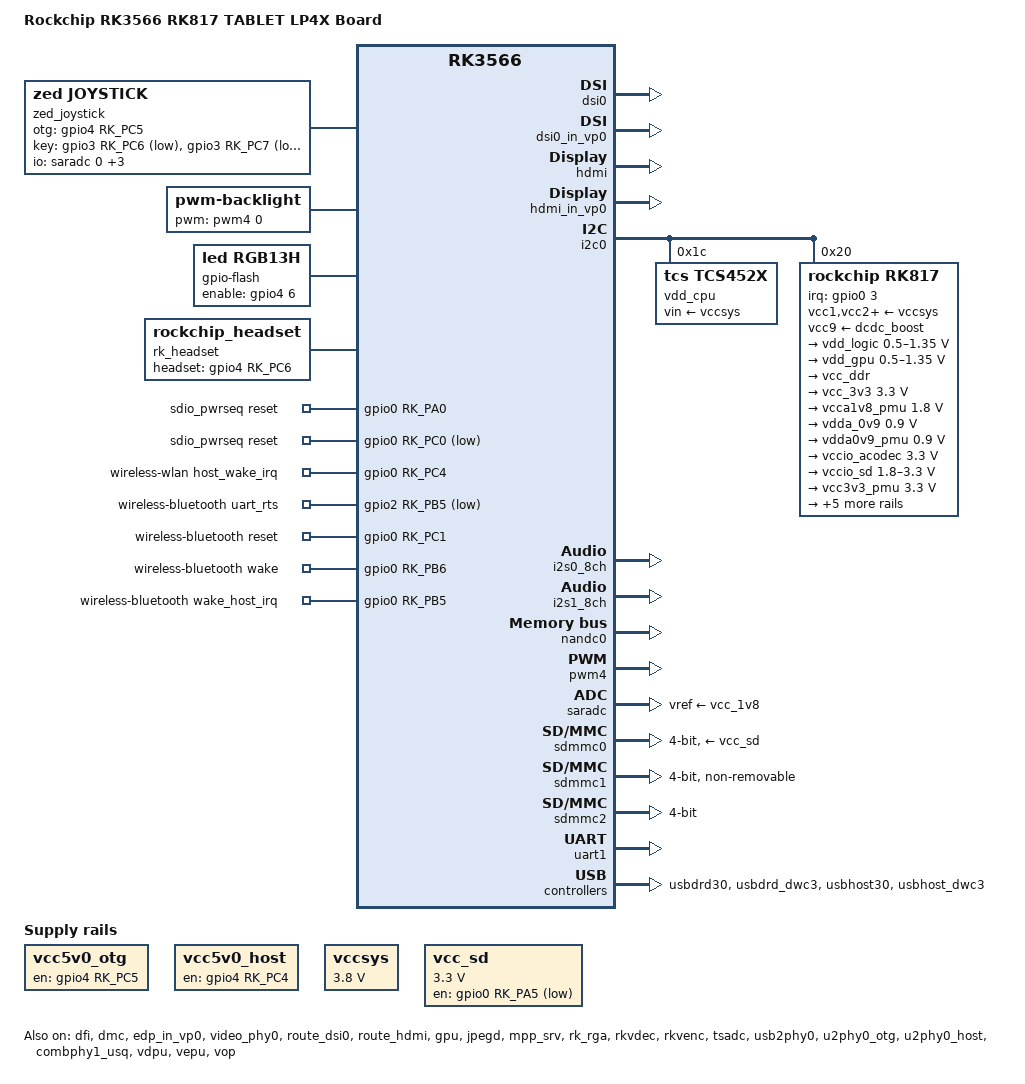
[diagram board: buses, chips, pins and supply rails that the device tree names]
// SPDX-License-Identifier: (GPL-2.0+ OR MIT)
/*
 * Copyright (c) 2020 Rockchip Electronics Co., Ltd.
 *
 */

/dts-v1/;

#include <dt-bindings/gpio/gpio.h>
#include <dt-bindings/pinctrl/rockchip.h>
#include <dt-bindings/input/rk-input.h>
#include <dt-bindings/sensor-dev.h>
#include <dt-bindings/display/drm_mipi_dsi.h>
#include <dt-bindings/display/rockchip_vop.h>
#include "rk3566.dtsi"
#include "rk3568-android.dtsi"
//#include "lcd/lcd_H546TAN01_720x1280_mipi_dsi0.dtsi"
//#include "lcd/lcd_axs1832_auo55_720x1280_mipi_dsi0.dtsi"
#include "lcd/lcd_HX8394F_720x1280_mipi_dsi0.dtsi"
/ {
	model = "Rockchip RK3566 RK817 TABLET LP4X Board";
	compatible = "rockchip,rk3566-rk817-tablet", "rockchip,rk3566";
/*
	adc_keys: adc-keys {
		compatible = "adc-keys";
		io-channels = <&saradc 0>;
		io-channel-names = "buttons";
		keyup-threshold-microvolt = <1800000>;
		poll-interval = <100>;

		vol-up-key {
			label = "volume up";
			linux,code = <KEY_VOLUMEUP>;
			press-threshold-microvolt = <1750>;
		};

		vol-down-key {
			label = "volume down";
			linux,code = <KEY_VOLUMEDOWN>;
			press-threshold-microvolt = <297500>;
		};
	};
*/

	zed_joystick {
		compatible = "zed,joystick";
		io-channels = <&saradc 0>,<&saradc 1>,<&saradc 2>, <&saradc 3>;
		io-channel-names = "button0","button1","button2","button3";
		keyup-threshold-microvolt = <1800000>;
		poll-interval = <30>;
		debounce-interval = <100>;	
		pinctrl-names = "default";
		pinctrl-0 = <&gpio_key_pin>;
	//	pinctrl-0 = <&gpio_key_pin &vcc5v0_otg_en>;

		//外置USB手柄应晚于板载摇杠初始化,否则会抢占默认手柄
		otg-gpio = <&gpio4 RK_PC5 GPIO_ACTIVE_HIGH>;

	//	gpio-key-num = <18>;
		//映射的键值写在驱动里面了
		key-gpios = <&gpio3 RK_PC6 GPIO_ACTIVE_LOW>,//SDL_CONTROLLER_BUTTON_RIGHTSHOULDER
			<&gpio3 RK_PC7 GPIO_ACTIVE_LOW>,//BTN_TR2
			<&gpio3 RK_PD0 GPIO_ACTIVE_LOW>,//SDL_CONTROLLER_BUTTON_LEFTSHOULDER
			<&gpio3 RK_PD1 GPIO_ACTIVE_LOW>,//BTN_TL2
			<&gpio3 RK_PD2 GPIO_ACTIVE_LOW>,//SDL_CONTROLLER_BUTTON_A
			<&gpio3 RK_PD3 GPIO_ACTIVE_LOW>,//SDL_CONTROLLER_BUTTON_B
			<&gpio3 RK_PD4 GPIO_ACTIVE_LOW>,//SDL_CONTROLLER_BUTTON_X
			<&gpio3 RK_PD5 GPIO_ACTIVE_LOW>,//SDL_CONTROLLER_BUTTON_Y
			<&gpio3 RK_PD6 GPIO_ACTIVE_LOW>,//SDL_CONTROLLER_BUTTON_DPAD_LEFT
			<&gpio3 RK_PD7 GPIO_ACTIVE_LOW>,//SDL_CONTROLLER_BUTTON_DPAD_RIGHT
			<&gpio4 RK_PA0 GPIO_ACTIVE_LOW>,//SDL_CONTROLLER_BUTTON_DPAD_UP
			<&gpio4 RK_PA1 GPIO_ACTIVE_LOW>,//SDL_CONTROLLER_BUTTON_DPAD_DOWN
			<&gpio4 RK_PA2 GPIO_ACTIVE_LOW>,//SDL_CONTROLLER_BUTTON_BACK(select)
			<&gpio4 RK_PA3 GPIO_ACTIVE_LOW>,//SDL_CONTROLLER_BUTTON_START
			<&gpio4 RK_PA4 GPIO_ACTIVE_LOW>,//KEY_VOLUMEUP
			<&gpio4 RK_PA5 GPIO_ACTIVE_LOW>,//KEY_VOLUMEDOWN
			<&gpio4 RK_PA7 GPIO_ACTIVE_LOW>,//SDL_CONTROLLER_BUTTON_LEFTSTICK
			<&gpio4 RK_PB0 GPIO_ACTIVE_LOW>;//SDL_CONTROLLER_BUTTON_RIGHTSTICK


		left-x {
			label = "left x";
			adc-chan = <0>;
			linux,code = <ABS_X>;
			press-threshold-microvolt = <1750>;
		};

		left-y {
			label = "left y";
			adc-chan = <1>;
			linux,code = <ABS_Y>;
			press-threshold-microvolt = <1750>;
		};

		right-x {
			label = "right x";
			adc-chan = <2>;
			linux,code = <ABS_RX>;
			press-threshold-microvolt = <1750>;
		};

		right-y {
			label = "right y";
			adc-chan = <3>;
			linux,code = <ABS_RY>;
			press-threshold-microvolt = <1750>;
		};
        };  
	

	backlight: backlight {
		compatible = "pwm-backlight";
		pwms = <&pwm4 0 25000 0>;
		brightness-levels = <
			  0  20  20  21  21  22  22  23
			 23  24  24  25  25  26  26  27
			 27  28  28  29  29  30  30  31
			 31  32  32  33  33  34  34  35
			 35  36  36  37  37  38  38  39
			 40  41  42  43  44  45  46  47
			 48  49  50  50  51  52  53  54
			 55  55  56  57  58  59  60  61
			 62  63  64  64  65  65  66  67
			 68  69  70  71  71  72  73  74
			 75  76  77  78  79  79  80  81
			 82  83  84  85  86  86  87  88
			 89  90  91  92  93  94  94  95
			 96  97  98  99 100 101 101 102
			103 104 105 106 107 107 108 109
			110 111 112 113 114 115 115 116
			117 118 119 120 121 122 123 123
			124 125 126 127 128 129 130 130
			131 132 133 134 135 136 136 137
			138 139 140 141 142 143 143 144
			145 146 147 147 148 149 150 151
			152 153 154 155 156 156 157 158
			159 157 158 159 160 161 162 162
			163 164 165 166 167 168 169 169
			170 171 172 173 174 175 175 176
			177 178 179 180 181 182 182 183
			184 185 186 187 188 189 190 190
			191 192 193 194 195 196 197 197
			198 199 200 201 202 203 204 204
			205 206 207 208 209 209 210 211
			212 213 213 214 214 215 215 216
			216 217 217 218 218 219 219 220
		>;
		default-brightness-level = <200>;
	};

	charge-animation {
		compatible = "rockchip,uboot-charge";
		rockchip,uboot-charge-on = <1>;
		rockchip,android-charge-on = <0>;
		rockchip,uboot-low-power-voltage = <3350>;
		rockchip,screen-on-voltage = <3400>;
		status = "okay";
	};

	flash_rgb13h: flash-rgb13h {
		status = "okay";
		compatible = "led,rgb13h";
		label = "gpio-flash";
		pinctrl-names = "default";
		pinctrl-0 = <&flash_led_gpios>;
		led-max-microamp = <20000>;
		flash-max-microamp = <20000>;
		flash-max-timeout-us = <1000000>;
		enable-gpio = <&gpio4 6 GPIO_ACTIVE_HIGH>;
		rockchip,camera-module-index = <0>;
		rockchip,camera-module-facing = "back";
	};

	vcc5v0_otg: vcc5v0-otg-regulator {
		compatible = "regulator-fixed";
		enable-active-high;
		gpio = <&gpio4 RK_PC5 GPIO_ACTIVE_HIGH>;
		pinctrl-names = "default";
		pinctrl-0 = <&vcc5v0_otg_en>;
		regulator-name = "vcc5v0_otg";
	};

	vcc5v0_host: vcc5v0-host-regulator {
		compatible = "regulator-fixed";
		enable-active-high;
		gpio = <&gpio4 RK_PC4 GPIO_ACTIVE_HIGH>;
		pinctrl-names = "default";
		pinctrl-0 = <&vcc5v0_host_en>;
		regulator-name = "vcc5v0_host";
		regulator-always-on;
		regulator-boot-on;
	};

	rk817-sound {
		compatible = "simple-audio-card";
		simple-audio-card,format = "i2s";
		simple-audio-card,name = "rockchip,rk817-codec";
		simple-audio-card,mclk-fs = <256>;

		simple-audio-card,cpu {
			sound-dai = <&i2s1_8ch>;
		};
		simple-audio-card,codec {
			sound-dai = <&rk817_codec>;
		};
	};

	hdmi_sound: hdmi-sound {
		compatible = "simple-audio-card";
		simple-audio-card,format = "i2s";
		simple-audio-card,mclk-fs = <128>;
		simple-audio-card,name = "rockchip,hdmi";
		status = "disabled";

		simple-audio-card,cpu {
				sound-dai = <&i2s0_8ch>;
		};
		simple-audio-card,codec {
				sound-dai = <&hdmi>;
		};
	};

	vccsys: vccsys {
		compatible = "regulator-fixed";
		regulator-name = "vcc3v8_sys";
		regulator-always-on;
		regulator-boot-on;
		regulator-min-microvolt = <3800000>;
		regulator-max-microvolt = <3800000>;
	};
/*
	vcc_camera: vcc-camera-regulator {
		compatible = "regulator-fixed";
		gpio = <&gpio4 RK_PB1 GPIO_ACTIVE_HIGH>;
		pinctrl-names = "default";
		pinctrl-0 = <&camera_rst>;
		regulator-name = "vcc_camera";
		enable-active-high;
		regulator-always-on;
		regulator-boot-on;
	};
*/

	rk_headset: rk-headset {
		status = "okay";
		compatible = "rockchip_headset";
		headset_gpio = <&gpio4 RK_PC6 GPIO_ACTIVE_HIGH>;
		pinctrl-names = "default";
		pinctrl-0 = <&hp_det>;
	//	io-channels = <&saradc 2>;
	};

	sdio_pwrseq: sdio-pwrseq {
		compatible = "mmc-pwrseq-simple";
	//	clocks = <&rk817 1>;
	//	clock-names = "ext_clock";
		pinctrl-names = "default";
		pinctrl-0 = <&wifi_enable_h>;

		/*
		 * On the module itself this is one of these (depending
		 * on the actual card populated):
		 * - SDIO_RESET_L_WL_REG_ON
		 * - PDN (power down when low)
		 */
		post-power-on-delay-ms = <200>;
		reset-gpios = <&gpio0 RK_PA0 GPIO_ACTIVE_HIGH>,<&gpio0 RK_PC0 GPIO_ACTIVE_LOW>;
	};

	vcc_sd: vcc-sd {
		compatible = "regulator-gpio";
		enable-active-low;
		enable-gpio = <&gpio0 RK_PA5 GPIO_ACTIVE_LOW>;
		regulator-min-microvolt = <3300000>;
		regulator-max-microvolt = <3300000>;
		pinctrl-names = "default";
		pinctrl-0 = <&vcc_sd_h>;
		regulator-name = "vcc_sd";
		states = <3300000 0x0
			3300000 0x1>;
	};

	wireless-wlan {
		compatible = "wlan-platdata";
		rockchip,grf = <&grf>;
		wifi_chip_type = "rtl8821cs";
		pinctrl-names = "default";
		pinctrl-0 = <&wifi_host_wake_irq>;
		WIFI,host_wake_irq = <&gpio0 RK_PC4 GPIO_ACTIVE_HIGH>;
		status = "okay";
	};

	wireless-bluetooth {
		compatible = "bluetooth-platdata";
		//clocks = <&rk817 1>;
		//clock-names = "ext_clock";
		//wifi-bt-power-toggle;
		uart_rts_gpios = <&gpio2 RK_PB5 GPIO_ACTIVE_LOW>;
		pinctrl-names = "default", "rts_gpio";
		pinctrl-0 = <&uart1m0_rtsn>;
		pinctrl-1 = <&uart1_gpios>;
		BT,reset_gpio    = <&gpio0 RK_PC1 GPIO_ACTIVE_HIGH>;
		BT,wake_gpio     = <&gpio0 RK_PB6 GPIO_ACTIVE_HIGH>;
		BT,wake_host_irq = <&gpio0 RK_PB5 GPIO_ACTIVE_HIGH>;
		status = "okay";
	};
};

&cpu0 {
	cpu-supply = <&vdd_cpu>;
};

&csi2_dphy_hw {
	status = "disabled";
};

&csi2_dphy0 {
	status = "disabled";
};

&vp0 {
  rockchip,plane-mask = <( 1<< ROCKCHIP_VOP2_ESMART0 | 1 << ROCKCHIP_VOP2_SMART0)>;
  rockchip,primary-plane = <ROCKCHIP_VOP2_SMART0>;
};

/*
&vp1 {
	 cursor-win-id = <ROCKCHIP_VOP2_CLUSTER1>;
     rockchip,plane-mask = <( 1 << ROCKCHIP_VOP2_CLUSTER1 | 1<< ROCKCHIP_VOP2_ESMART1 | 1 <<  ROCKCHIP_VOP2_SMART1)>;
     rockchip,primary-plane = <ROCKCHIP_VOP2_SMART1>;
};
*/

&dfi {
	status = "okay";
};

&dmc {
	center-supply = <&vdd_logic>;
	status = "okay";
};


&edp_phy{
	status = "disabled";
};

&edp {
	status = "disabled";
};

&edp_in_vp0 {
	status = "okay";
};

&edp_in_vp1 {
	status = "disabled";
};

&dsi0 {
	status = "okay";
	dsi0_panel: panel@0 {
		backlight = <&backlight>;
	//	power_vsx-gpios = <&gpio0 RK_PB7 GPIO_ACTIVE_HIGH>;
		enable-gpios = <&gpio0 RK_PC7 GPIO_ACTIVE_HIGH>;
		reset-gpios = <&gpio0 RK_PD5 GPIO_ACTIVE_LOW>;
	//	pinctrl-names = "default";
	//	pinctrl-0 = <&lcd0_rst_gpio>;
	};
};

&dsi0_in_vp0 {
	status = "okay";
};

&dsi0_in_vp1 {
	status = "disabled";
};

&dsi1 {
	status = "disabled";
};

&dsi1_in_vp0 {
	status = "disabled";
};

&dsi1_in_vp1 {
	status = "disabled";
};

&video_phy0 {
	status = "okay";
};

&video_phy1 {
	status = "disabled";
};

&hdmi {
	status = "okay";
};

&hdmi_in_vp0 {
	status = "okay";
};

&hdmi_in_vp1 {
	status = "disabled";
};

&hdmi_sound {
	status = "okay";
};

&route_dsi0 {
	status = "okay";
	connect = <&vp0_out_dsi0>;
};

&route_hdmi {
	status = "okay";
	connect = <&vp0_out_hdmi>;
};

&route_edp {
	status = "disabled";
	connect = <&vp0_out_edp>;
};

&gpu {
	mali-supply = <&vdd_gpu>;
	status = "okay";
};

&i2c0 {
	status = "okay";

	vdd_cpu: tcs4525@1c {
		compatible = "tcs,tcs452x";
		reg = <0x1c>;
		vin-supply = <&vccsys>;
		regulator-compatible = "fan53555-reg";
		regulator-name = "vdd_cpu";
		regulator-min-microvolt = <712500>;
		regulator-max-microvolt = <1390000>;
		regulator-init-microvolt = <900000>;
		regulator-ramp-delay = <2300>;
		fcs,suspend-voltage-selector = <1>;
		regulator-boot-on;
		regulator-always-on;
		regulator-state-mem {
			regulator-off-in-suspend;
		};
	};

	rk817: pmic@20 {
		compatible = "rockchip,rk817";
		reg = <0x20>;
		interrupt-parent = <&gpio0>;
		interrupts = <3 IRQ_TYPE_LEVEL_LOW>;

		pinctrl-names = "default", "pmic-sleep",
				"pmic-power-off", "pmic-reset";
		pinctrl-0 = <&pmic_int>;
		pinctrl-1 = <&soc_slppin_slp>, <&rk817_slppin_slp>;
		pinctrl-2 = <&soc_slppin_gpio>, <&rk817_slppin_pwrdn>;
		pinctrl-3 = <&soc_slppin_gpio>, <&rk817_slppin_rst>;
		rockchip,system-power-controller;
		wakeup-source;
		#clock-cells = <1>;
		clock-output-names = "rk808-clkout1", "rk808-clkout2";
		//fb-inner-reg-idxs = <2>;
		/* 1: rst regs (default in codes), 0: rst the pmic */
		pmic-reset-func = <0>;
		/* not save the PMIC_POWER_EN register in uboot */
		not-save-power-en = <1>;

		vcc1-supply = <&vccsys>;
		vcc2-supply = <&vccsys>;
		vcc3-supply = <&vccsys>;
		vcc4-supply = <&vccsys>;
		vcc5-supply = <&vccsys>;
		vcc6-supply = <&vccsys>;
		vcc7-supply = <&vccsys>;
		vcc8-supply = <&vccsys>;
		vcc9-supply = <&dcdc_boost>;

		pwrkey {
			status = "okay";
		};

		pinctrl_rk8xx: pinctrl_rk8xx {
			gpio-controller;
			#gpio-cells = <2>;

			rk817_slppin_null: rk817_slppin_null {
				pins = "gpio_slp";
				function = "pin_fun0";
			};

			rk817_slppin_slp: rk817_slppin_slp {
				pins = "gpio_slp";
				function = "pin_fun1";
			};

			rk817_slppin_pwrdn: rk817_slppin_pwrdn {
				pins = "gpio_slp";
				function = "pin_fun2";
			};

			rk817_slppin_rst: rk817_slppin_rst {
				pins = "gpio_slp";
				function = "pin_fun3";
			};
		};

		regulators {
			vdd_logic: DCDC_REG1 {
				regulator-always-on;
				regulator-boot-on;
				regulator-min-microvolt = <500000>;
				regulator-max-microvolt = <1350000>;
				regulator-init-microvolt = <900000>;
				regulator-ramp-delay = <6001>;
				regulator-initial-mode = <0x2>;
				regulator-name = "vdd_logic";
				regulator-state-mem {
					regulator-on-in-suspend;
					regulator-suspend-microvolt = <900000>;
				};
			};

			vdd_gpu: DCDC_REG2 {
				regulator-always-on;
				regulator-boot-on;
				regulator-min-microvolt = <500000>;
				regulator-max-microvolt = <1350000>;
				regulator-init-microvolt = <900000>;
				regulator-ramp-delay = <6001>;
				regulator-initial-mode = <0x2>;
				regulator-name = "vdd_gpu";
				regulator-state-mem {
					regulator-off-in-suspend;
				};
			};

			vcc_ddr: DCDC_REG3 {
				regulator-always-on;
				regulator-boot-on;
				regulator-initial-mode = <0x2>;
				regulator-name = "vcc_ddr";
				regulator-state-mem {
					regulator-on-in-suspend;
				};
			};

			vcc_3v3: DCDC_REG4 {
				regulator-always-on;
				regulator-boot-on;
				regulator-min-microvolt = <3300000>;
				regulator-max-microvolt = <3300000>;
				regulator-initial-mode = <0x2>;
				regulator-name = "vcc_3v3";
				regulator-state-mem {
					regulator-on-in-suspend;
					//regulator-off-in-suspend;
				};
			};

			vcca1v8_pmu: LDO_REG1 {
				regulator-always-on;
				regulator-boot-on;
				regulator-min-microvolt = <1800000>;
				regulator-max-microvolt = <1800000>;
				regulator-name = "vcca1v8_pmu";
				regulator-state-mem {
					regulator-on-in-suspend;
					regulator-suspend-microvolt = <1800000>;
				};
			};

			vdda_0v9: LDO_REG2 {
				regulator-always-on;
				regulator-boot-on;
				regulator-min-microvolt = <900000>;
				regulator-max-microvolt = <900000>;
				regulator-name = "vdda_0v9";
				regulator-state-mem {
					regulator-off-in-suspend;
				};
			};

			vdda0v9_pmu: LDO_REG3 {
				regulator-always-on;
				regulator-boot-on;
				regulator-min-microvolt = <900000>;
				regulator-max-microvolt = <900000>;
				regulator-name = "vdda0v9_pmu";
				regulator-state-mem {
					regulator-on-in-suspend;
					regulator-suspend-microvolt = <900000>;
				};
			};

			vccio_acodec: LDO_REG4 {
				regulator-always-on;
				regulator-boot-on;
				regulator-min-microvolt = <3300000>;
				regulator-max-microvolt = <3300000>;
				regulator-name = "vccio_acodec";
				regulator-state-mem {
					regulator-off-in-suspend;
				};
			};

			vccio_sd: LDO_REG5 {
				regulator-always-on;
				regulator-boot-on;
				regulator-min-microvolt = <1800000>;
				regulator-max-microvolt = <3300000>;
				regulator-name = "vccio_sd";
				regulator-state-mem {
					regulator-off-in-suspend;
				};
			};

			vcc3v3_pmu: LDO_REG6 {
				regulator-always-on;
				regulator-boot-on;
				regulator-min-microvolt = <3300000>;
				regulator-max-microvolt = <3300000>;
				regulator-name = "vcc3v3_pmu";
				regulator-state-mem {
					regulator-on-in-suspend;
					regulator-suspend-microvolt = <3000000>;
				};
			};

			vcc_1v8: LDO_REG7 {
				regulator-always-on;
				regulator-boot-on;
				regulator-min-microvolt = <1800000>;
				regulator-max-microvolt = <1800000>;
				regulator-name = "vcc_1v8";
				regulator-state-mem {
					regulator-off-in-suspend;
				};
			};

			vcc1v8_dvp: LDO_REG8 {
				regulator-always-on;
				regulator-boot-on;
				regulator-min-microvolt = <1800000>;
				regulator-max-microvolt = <1800000>;
				regulator-name = "vcc1v8_dvp";
				regulator-state-mem {
					regulator-on-in-suspend;
				};
			};

			vcc2v8_dvp: LDO_REG9 {
				regulator-always-on;
				regulator-boot-on;
				regulator-min-microvolt = <1800000>;
				regulator-max-microvolt = <3300000>;
				regulator-name = "vcc2v8_dvp";
				regulator-state-mem {
					regulator-off-in-suspend;
				};
			};

			dcdc_boost: BOOST {
				regulator-always-on;
				regulator-boot-on;
				regulator-min-microvolt = <4700000>;
				regulator-max-microvolt = <5400000>;
				regulator-name = "boost";
				regulator-state-mem {
					regulator-off-in-suspend;
				};
			};

			otg_switch: OTG_SWITCH {
				regulator-name = "otg_switch";
				regulator-state-mem {
					regulator-off-in-suspend;
				};
			};
		};

		battery {
			compatible = "rk817,battery";
			ocv_table = <3400 3553 3621 3688 3735 3768 3801
				     3826 3843 3857 3878 3904 3934 3972
				     4006 4020 4030 4044 4059 4083 4138>;
			design_capacity = <3527>;
			design_qmax = <3880>;
			bat_res = <91>;
			sleep_enter_current = <150>;
			sleep_exit_current = <180>;
			sleep_filter_current = <100>;
			power_off_thresd = <3350>;
			zero_algorithm_vol = <3300>;
			max_soc_offset = <60>;
			monitor_sec = <5>;
			sample_res = <10>;
			virtual_power = <0>;
		//	dc_det_gpio = <&gpio4 RK_PC4 GPIO_ACTIVE_HIGH>;//uboot使用
			charge_red_gpio = <&gpio4 RK_PB4 GPIO_ACTIVE_HIGH>;//充电指示灯 红
			charge_green_gpio = <&gpio4 RK_PB5 GPIO_ACTIVE_HIGH>;//充电指示灯 绿
			charge_yellow_gpio = <&gpio4 RK_PB6 GPIO_ACTIVE_HIGH>;//充电指示灯 黄   
		};

		charger {
			compatible = "rk817,charger";
			min_input_voltage = <4500>;
			max_input_current = <2000>;
			max_chrg_current = <2000>;
			max_chrg_voltage = <4300>;
			chrg_term_mode = <0>;
			chrg_finish_cur = <300>;
			virtual_power = <0>;
			dc_det_adc = <0>;
		//	dc_det_gpio = <&gpio4 RK_PC4 GPIO_ACTIVE_HIGH>;
			charge_red_gpio = <&gpio4 RK_PB4 GPIO_ACTIVE_HIGH>;//充电指示灯 红
			charge_green_gpio = <&gpio4 RK_PB5 GPIO_ACTIVE_HIGH>;//充电指示灯 绿
			charge_yellow_gpio = <&gpio4 RK_PB6 GPIO_ACTIVE_HIGH>;//充电指示灯 黄   
			pinctrl-names = "default";
			pinctrl-0 = <&charge_led_gpio>;
			extcon = <&usb2phy0>;
			gate_function_disable = <1>;
		};

		rk817_codec: codec {
			#sound-dai-cells = <0>;
			compatible = "rockchip,rk817-codec";
			clocks = <&cru I2S1_MCLKOUT>;
			clock-names = "mclk";
			assigned-clocks = <&cru I2S1_MCLKOUT>, <&cru I2S1_MCLK_TX_IOE>;
			assigned-clock-rates = <12288000>;
			assigned-clock-parents = <&cru I2S1_MCLKOUT_TX>, <&cru I2S1_MCLKOUT_TX>;
			pinctrl-names = "default";
			pinctrl-0 = <&i2s1m0_mclk>;
			hp-volume = <3>;
			spk-volume = <3>;
			//out-l2spk-r2hp;
			use-ext-amplifier;
			spk-ctl-gpios = <&gpio4 RK_PC2 GPIO_ACTIVE_HIGH>;
			status = "okay";
		};
	};
};

&i2c2 {
	status = "disabled";
	pinctrl-0 = <&i2c2m1_xfer>;
};

&i2c3 {
	status = "disabled";
	pinctrl-names = "default";
	pinctrl-0 = <&i2c3m1_xfer>;
	clock-frequency = <400000>;
	i2c-scl-rising-time-ns = <138>;
	i2c-scl-falling-time-ns = <4>;

};

&i2c5 {
	status = "disabled";
	clock-frequency = <400000>;
	i2c-scl-rising-time-ns = <144>;
	i2c-scl-falling-time-ns = <4>;

};

&i2s0_8ch {
	status = "okay";
};

&i2s1_8ch {
	status = "okay";
	rockchip,clk-trcm = <1>;
	pinctrl-names = "default";
	pinctrl-0 = <&i2s1m0_sclktx
		     &i2s1m0_lrcktx
		     &i2s1m0_sdi0
		     &i2s1m0_sdo0>;
};

&jpegd {
	status = "okay";
};

&jpegd_mmu {
	status = "okay";
};

&video_phy0 {
	status = "okay";
};

&mpp_srv {
	status = "okay";
};

&nandc0 {
	status = "okay";
};

&pinctrl {
	cam {
		cam_clkout0: cam-clkout0 {
			rockchip,pins =
				/* cam_clkout0 */
				<4 RK_PA7 1 &pcfg_pull_none>;
		};

		cam_sleep: cam-sleep {
			rockchip,pins =
				/* cam_sleep */
				<4 RK_PA7 RK_FUNC_GPIO &pcfg_pull_none>;
		};

		camera_rst: camera-rst {
			rockchip,pins =
				/* front camera reset */
				<4 RK_PB0 RK_FUNC_GPIO &pcfg_pull_none>,
				/* back camra reset */
				<4 RK_PB1 RK_FUNC_GPIO &pcfg_pull_none>;
		};

		flash_led_gpios: flash-led {
			rockchip,pins =
				/* flash led enable */
				<4 RK_PA6 RK_FUNC_GPIO &pcfg_pull_none>;
		};
	};

	tp {
		tp_gpio: tp-gpio {
			rockchip,pins = <3 RK_PB0 RK_FUNC_GPIO &pcfg_pull_up>,
					<3 RK_PB1 RK_FUNC_GPIO &pcfg_pull_none>;
		};
	};

	headphone {
		hp_det: hp-det {
			rockchip,pins = <4 RK_PC6 RK_FUNC_GPIO &pcfg_pull_up>;
		};
	};

	lcd {
		lcd_rst_gpio: lcd-rst-gpio {
			rockchip,pins = <0 RK_PC2 RK_FUNC_GPIO &pcfg_pull_none>;
		};

		lcd_enable_gpio: lcd-enable-gpio {
			rockchip,pins = <0 RK_PC7 RK_FUNC_GPIO &pcfg_pull_none>;
		};

		lcd_stanby_gpio: lcd-stanby-gpio {
			rockchip,pins = <0 RK_PC0 RK_FUNC_GPIO &pcfg_pull_down>;
		};
	};

	pmic {
		pmic_int: pmic_int {
			rockchip,pins =
				<0 RK_PA3 RK_FUNC_GPIO &pcfg_pull_up>;
		};

		soc_slppin_gpio: soc_slppin_gpio {
			rockchip,pins =
				<0 RK_PA2 RK_FUNC_GPIO &pcfg_output_low_pull_down>;
		};

		soc_slppin_slp: soc_slppin_slp {
			rockchip,pins =
				<0 RK_PA2 1 &pcfg_pull_up>;
		};

		soc_slppin_rst: soc_slppin_rst {
			rockchip,pins =
				<0 RK_PA2 2 &pcfg_pull_none>;
		};
	};

	sensor {
		sensor_gpio: sensor-gpio {
			rockchip,pins = <3 RK_PA2 RK_FUNC_GPIO &pcfg_pull_none>;
		};
	};

	sdio-pwrseq {
		wifi_enable_h: wifi-enable-h {
			rockchip,pins = <0 RK_PA0 RK_FUNC_GPIO &pcfg_pull_none>,
			 		<0 RK_PC0 RK_FUNC_GPIO &pcfg_pull_none>;
		};
	};

	vcc_sd {
		vcc_sd_h: vcc-sd-h {
			rockchip,pins = <0 RK_PA5 RK_FUNC_GPIO &pcfg_pull_none>;
		};
	};

	wireless-wlan {
		wifi_host_wake_irq: wifi-host-wake-irq {
			rockchip,pins = <0 RK_PC4 RK_FUNC_GPIO &pcfg_pull_down>;
		};
	};

	wireless-bluetooth {
		uart1_gpios: uart1-gpios {
			rockchip,pins = <2 RK_PB5 RK_FUNC_GPIO &pcfg_pull_none>;
		};
	};
	usb {
         vcc5v0_host_en: vcc5v0-host-en {
                 rockchip,pins = <4 RK_PC4 RK_FUNC_GPIO &pcfg_pull_up>;
         };

         vcc5v0_otg_en: vcc5v0-otg-en {
                 rockchip,pins = <4 RK_PC5 RK_FUNC_GPIO &pcfg_pull_up>;
         };
	};
	led {
		charge_led_gpio:charge-led-gpio{
                 rockchip,pins = <4 RK_PB4 RK_FUNC_GPIO &pcfg_pull_none>,
                 		 <4 RK_PB5 RK_FUNC_GPIO &pcfg_pull_none>,
                                 <4 RK_PB6 RK_FUNC_GPIO &pcfg_pull_none>;
		};
	
	};
	buttons {
		gpio_key_pin: gpio-key-pin {
			rockchip,pins = <3 RK_PC6 RK_FUNC_GPIO &pcfg_pull_up>,
			                <3 RK_PC7 RK_FUNC_GPIO &pcfg_pull_up>,
			                <3 RK_PD0 RK_FUNC_GPIO &pcfg_pull_up>,
			                <3 RK_PD1 RK_FUNC_GPIO &pcfg_pull_up>,
			                <3 RK_PD2 RK_FUNC_GPIO &pcfg_pull_up>,
			                <3 RK_PD3 RK_FUNC_GPIO &pcfg_pull_up>,
			                <3 RK_PD4 RK_FUNC_GPIO &pcfg_pull_up>,
			                <3 RK_PD5 RK_FUNC_GPIO &pcfg_pull_up>,
			                <3 RK_PD6 RK_FUNC_GPIO &pcfg_pull_up>,
			                <3 RK_PD7 RK_FUNC_GPIO &pcfg_pull_up>,
			                <4 RK_PA0 RK_FUNC_GPIO &pcfg_pull_up>,
			                <4 RK_PA1 RK_FUNC_GPIO &pcfg_pull_up>,
			                <4 RK_PA2 RK_FUNC_GPIO &pcfg_pull_up>,
			                <4 RK_PA3 RK_FUNC_GPIO &pcfg_pull_up>,
			                <4 RK_PA4 RK_FUNC_GPIO &pcfg_pull_up>,
			                <4 RK_PA5 RK_FUNC_GPIO &pcfg_pull_up>,
			                <4 RK_PA7 RK_FUNC_GPIO &pcfg_pull_up>,
			                <4 RK_PB0 RK_FUNC_GPIO &pcfg_pull_up>;
		};
	};
};

&pmu_io_domains {
	status = "okay";
	pmuio1-supply = <&vcc3v3_pmu>;
	pmuio2-supply = <&vcca1v8_pmu>;
	vccio1-supply = <&vccio_acodec>;
	vccio3-supply = <&vccio_sd>;
	vccio4-supply = <&vcca1v8_pmu>;
	vccio5-supply = <&vcc2v8_dvp>;
	vccio6-supply = <&vcc1v8_dvp>;
	vccio7-supply = <&vcc_3v3>;
};

&pwm4 {
	status = "okay";
};

&rk_rga {
	status = "okay";
};

&rkisp {
	status = "disabled";
};

&rkisp_mmu {
	status = "disabled";
};

&rkisp_vir0 {
	status = "disabled";
};

&rkvdec {
	status = "okay";
};

&rkvdec_mmu {
	status = "okay";
};

&rkvenc {
	status = "okay";
};

&rkvenc_mmu {
	status = "okay";
};

&route_dsi0 {
	status = "okay";
};

&route_hdmi {
	status = "okay";
	connect = <&vp0_out_hdmi>;
};

&saradc {
	status = "okay";
	vref-supply = <&vcc_1v8>;
};

&sdhci {
	bus-width = <8>;
	supports-emmc;
	non-removable;
	max-frequency = <200000000>;
	status = "disabled";
};

&sdmmc0 {
	max-frequency = <150000000>;
	supports-sd;
	bus-width = <4>;
	cap-mmc-highspeed;
	cap-sd-highspeed;
	disable-wp;
	sd-uhs-sdr104;
	vmmc-supply = <&vcc_sd>;
	vqmmc-supply = <&vccio_sd>;
	pinctrl-names = "default";
	pinctrl-0 = <&sdmmc0_bus4 &sdmmc0_clk &sdmmc0_cmd &sdmmc0_det>;
	status = "okay";
};

&sdmmc1 {
	max-frequency = <150000000>;
	supports-sdio;
	bus-width = <4>;
	disable-wp;
	cap-sd-highspeed;
	cap-sdio-irq;
	keep-power-in-suspend;
	mmc-pwrseq = <&sdio_pwrseq>;
	non-removable;
	pinctrl-names = "default";
	pinctrl-0 = <&sdmmc1_bus4 &sdmmc1_cmd &sdmmc1_clk>;
	sd-uhs-sdr104;
	rockchip,default-sample-phase = <90>;
	status = "okay";
};

&sdmmc2 {
    max-frequency = <150000000>;
    supports-sd;
    bus-width = <4>;
    cap-mmc-highspeed;
    cap-sd-highspeed;
    disable-wp;
    sd-uhs-sdr104;
    //vqmmc-supply = <&vcc_1v8>;
    //vqmmc-supply = <&vccio_sd>;
    vqmmc-supply = <&vcc2v8_dvp>;
    pinctrl-names = "default";
    pinctrl-0 = <&sdmmc2m1_bus4 &sdmmc2m1_cmd &sdmmc2m1_clk &sdmmc2m1_det>;
    //rockchip,default-sample-phase = <180>;
    status = "okay";
};

&tsadc {
	status = "okay";
};

&uart1 {
	status = "okay";
	pinctrl-names = "default";
	pinctrl-0 = <&uart1m0_xfer &uart1m0_ctsn>;
};



/**************************3.0 otg***********************************/
&usbdrd30 { 
	status = "okay";
};

&usbdrd_dwc3 { 
	status = "okay";
};
/**************************3.0 host***********************************/
&usbhost30 {
	status = "okay";
};

&usbhost_dwc3 {
	status = "okay";
};

/**************************usbphy***********************************/
&usb2phy0 {
	status = "okay";
};

&u2phy0_otg {
	vbus-supply = <&vcc5v0_otg>;
	status = "okay";
};

&u2phy0_host {
	status = "okay";
	phy-supply = <&vcc5v0_host>;
};

&combphy1_usq {
	status = "okay";
};


/*************************************************************/
&vdpu {
	status = "okay";
};

&vdpu_mmu {
	status = "okay";
};

&vepu {
	status = "okay";
};

&vepu_mmu {
	status = "okay";
};

&vop {
	status = "okay";
};

&vop_mmu {
	status = "okay";
};
